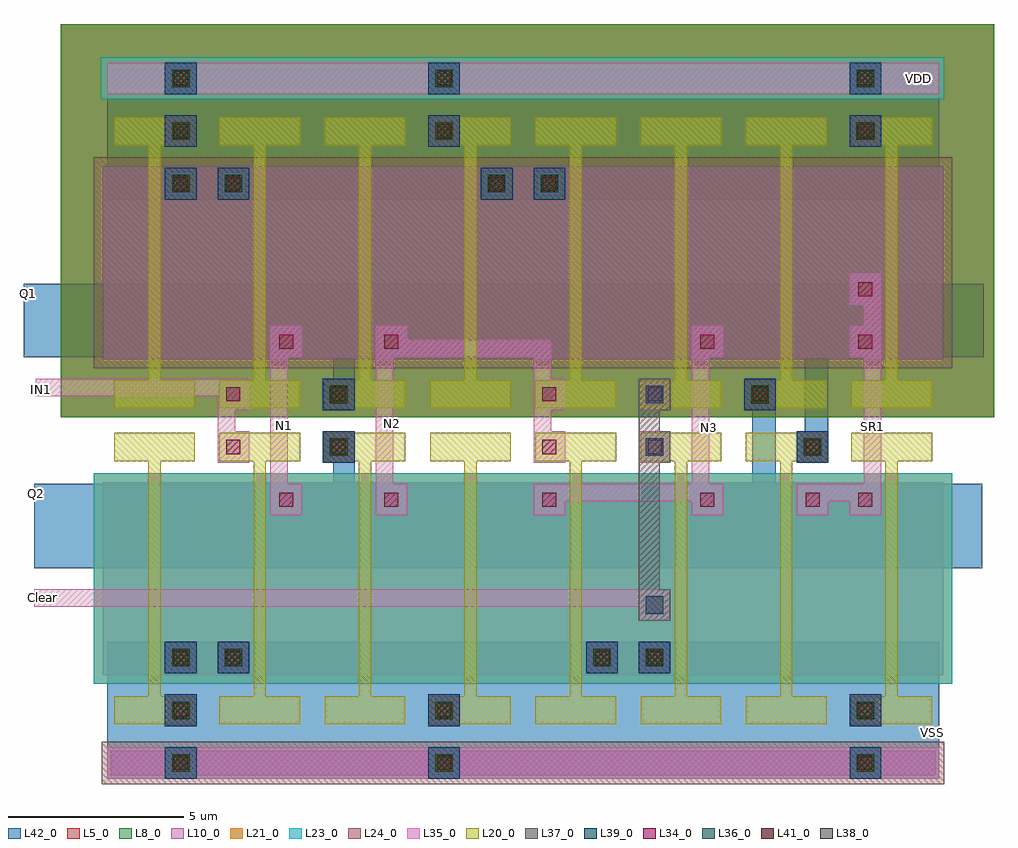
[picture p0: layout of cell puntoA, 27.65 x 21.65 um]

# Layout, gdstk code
import gdstk
lib = gdstk.Library(unit=1e-6, precision=1e-09)
def R(c, l, rs):  # rectangles x0, y0, x1, y1
    for r in rs: c.add(gdstk.rectangle(r[:2], r[2:], *l))
def A(c, l, x, y, w, h, nx, ny, dx, dy):  # array of equal rectangles
    R(c, l, [(x+i*dx, y+j*dy, x+i*dx+w, y+j*dy+h) for i in range(nx) for j in range(ny)])
L5_0 = (5, 0)
L8_0 = (8, 0)
L10_0 = (10, 0)
L20_0 = (20, 0)
L21_0 = (21, 0)
L23_0 = (23, 0)
L24_0 = (24, 0)
L34_0 = (34, 0)
L35_0 = (35, 0)
L36_0 = (36, 0)
L37_0 = (37, 0)
L38_0 = (38, 0)
L39_0 = (39, 0)
L41_0 = (41, 0)
L42_0 = (42, 0)

puntoa = lib.new_cell('puntoA')
R(puntoa, L5_0, [(-6.825,-5.35,19.775,5.85)])
R(puntoa, L8_0, [(-6.825,-5.35,19.775,5.85)])
R(puntoa, L10_0, [(-5.4,-15.55,18.1,-14.85), (-5.625,-12.7,18.325,-7.2), (-5.625,-3.7,18.325,1.8), (-5.425,3.95,18.1,4.65)])
A(puntoa, L20_0, -5.3, -14.1, 2.3, 0.8, 8, 2, 3, 7.5)
A(puntoa, L20_0, -4.325, -13.3, 0.35, 6.7, 8, 2, 3, 9)
A(puntoa, L20_0, -5.3, -5.1, 2.3, 0.8, 8, 2, 3, 7.5)
R(puntoa, L21_0, [(-5.875,-12.95,18.575,-6.95), (-5.675,3.7,18.35,4.9)])
R(puntoa, L23_0, [(-5.875,-12.95,18.575,-6.95), (-5.675,3.7,18.35,4.9)])
R(puntoa, L24_0, [(-5.65,-15.8,18.35,-14.6), (-5.875,-3.95,18.575,2.05)])
A(puntoa, L34_0, 2.4, -7.9, 0.4, 0.4, 3, 1, 4.5, 0)
A(puntoa, L34_0, 6.9, -4.9, 0.4, 0.4, 3, 1, 3, 0)
R(puntoa, L34_0, [(-3.6,-15.4,-3.2,-15), (-3.6,-15.4,-3.2,-15), (3.9,-15.4,4.3,-15), (3.9,-15.4,4.3,-15), (15.9,-15.4,16.3,-15), (15.9,-15.4,16.3,-15), (-3.6,-13.9,-3.2,-13.5), (-3.6,-13.9,-3.2,-13.5), (3.9,-13.9,4.3,-13.5), (3.9,-13.9,4.3,-13.5), (15.9,-13.9,16.3,-13.5), (15.9,-13.9,16.3,-13.5), (-3.6,-12.4,-3.2,-12), (-2.1,-12.4,-1.7,-12), (8.4,-12.4,8.8,-12), (9.9,-12.4,10.3,-12), (-0.6,-7.9,-0.2,-7.5), (14.4,-7.9,14.8,-7.5), (15.9,-7.9,16.3,-7.5), (-2.1,-6.4,-1.7,-6), (-2.1,-6.4,-1.7,-6), (0.9,-6.4,1.3,-6), (6.9,-6.4,7.3,-6), (6.9,-6.4,7.3,-6), (9.9,-6.4,10.3,-6), (14.4,-6.4,14.8,-6), (-2.1,-4.9,-1.7,-4.5), (0.9,-4.9,1.3,-4.5), (12.9,-4.9,13.3,-4.5), (-0.6,-3.4,-0.2,-3), (2.4,-3.4,2.8,-3), (11.4,-3.4,11.8,-3), (15.9,-3.4,16.3,-3), (15.9,-1.9,16.3,-1.5), (-3.6,1.1,-3.2,1.5), (-2.1,1.1,-1.7,1.5), (5.4,1.1,5.8,1.5), (6.9,1.1,7.3,1.5), (-3.6,2.6,-3.2,3), (-3.6,2.6,-3.2,3), (3.9,2.6,4.3,3), (3.9,2.6,4.3,3), (15.9,2.6,16.3,3), (15.9,2.6,16.3,3), (-3.6,4.1,-3.2,4.5), (-3.6,4.1,-3.2,4.5), (3.9,4.1,4.3,4.5), (3.9,4.1,4.3,4.5), (15.9,4.1,16.3,4.5), (15.9,4.1,16.3,4.5)])
A(puntoa, L35_0, -3.85, -15.65, 0.9, 0.9, 1, 3, 0, 1.5)
A(puntoa, L35_0, 2.15, -8.15, 0.9, 0.9, 3, 1, 4.5, 0)
A(puntoa, L35_0, 6.65, -5.15, 0.9, 0.9, 3, 1, 3, 0)
R(puntoa, L35_0, [(-5.5,-15.65,18.2,-14.75), (3.65,-15.65,4.55,-14.75), (15.65,-15.65,16.55,-14.75), (-3.85,-15.55,18.1,-14.85), (3.65,-14.15,4.55,-13.25), (15.65,-14.15,16.55,-13.25), (-2.35,-12.65,-1.45,-11.75), (8.15,-12.65,9.05,-11.75), (9.65,-12.65,10.55,-11.75), (9.65,-11.15,10.55,-10.25), (-7.575,-10.75,9.65,-10.25), (-0.85,-8.15,0.05,-7.25), (14.15,-8.15,15.05,-7.25), (15.65,-8.15,16.55,-7.25), (7.55,-7.75,11.15,-7.25), (15.05,-7.75,15.65,-7.25), (-0.85,-7.25,-0.35,-3.65), (2.15,-7.25,2.65,-3.65), (11.15,-7.25,11.65,-3.65), (16.05,-7.25,16.55,-3.65), (-2.35,-6.65,-1.45,-5.75), (0.65,-6.65,1.55,-5.75), (6.65,-6.65,7.55,-5.75), (9.65,-6.65,10.55,-5.75), (14.15,-6.65,15.05,-5.75), (-2.35,-5.75,-1.85,-5.15), (6.65,-5.75,7.15,-3.65), (-2.35,-5.15,-1.45,-4.25), (0.65,-5.15,1.55,-4.25), (-7.525,-4.75,-2.35,-4.25), (-0.85,-3.65,0.05,-2.75), (2.15,-3.65,3.05,-2.75), (3.05,-3.65,7.15,-3.15), (11.15,-3.65,12.05,-2.75), (15.65,-3.65,16.55,-2.75), (16.05,-2.75,16.55,-2.15), (15.65,-2.15,16.55,-1.25), (-3.85,0.85,-2.95,1.75), (-2.35,0.85,-1.45,1.75), (5.15,0.85,6.05,1.75), (6.65,0.85,7.55,1.75), (-3.85,2.35,-2.95,3.25), (3.65,2.35,4.55,3.25), (15.65,2.35,16.55,3.25), (-5.5,3.85,18.2,4.75)])
A(puntoa, L36_0, -3.65, -15.45, 0.5, 0.5, 1, 3, 0, 1.5)
A(puntoa, L36_0, -3.65, 1.05, 0.5, 0.5, 1, 3, 0, 1.5)
R(puntoa, L36_0, [(3.85,-15.45,4.35,-14.95), (15.85,-15.45,16.35,-14.95), (3.85,-13.95,4.35,-13.45), (15.85,-13.95,16.35,-13.45), (-2.15,-12.45,-1.65,-11.95), (8.35,-12.45,8.85,-11.95), (9.85,-12.45,10.35,-11.95), (9.85,-10.95,10.35,-10.45), (0.85,-6.45,1.35,-5.95), (9.85,-6.45,10.35,-5.95), (14.35,-6.45,14.85,-5.95), (0.85,-4.95,1.35,-4.45), (9.85,-4.95,10.35,-4.45), (12.85,-4.95,13.35,-4.45), (-2.15,1.05,-1.65,1.55), (5.35,1.05,5.85,1.55), (6.85,1.05,7.35,1.55), (3.85,2.55,4.35,3.05), (15.85,2.55,16.35,3.05), (3.85,4.05,4.35,4.55), (15.85,4.05,16.35,4.55)])
A(puntoa, L37_0, -3.85, -15.65, 0.9, 0.9, 1, 3, 0, 1.5)
A(puntoa, L37_0, -3.85, 0.85, 0.9, 0.9, 1, 3, 0, 1.5)
R(puntoa, L37_0, [(3.65,-15.65,4.55,-14.75), (15.65,-15.65,16.55,-14.75), (3.65,-14.15,4.55,-13.25), (15.65,-14.15,16.55,-13.25), (-2.35,-12.65,-1.45,-11.75), (8.15,-12.65,9.05,-11.75), (9.65,-12.65,10.55,-11.75), (9.65,-11.15,10.25,-5.15), (10.25,-11.15,10.55,-10.25), (0.65,-6.65,1.55,-5.75), (9.65,-6.65,10.55,-5.75), (14.15,-6.65,15.05,-5.75), (14.15,-6.65,15.05,-5.75), (0.65,-5.15,1.55,-4.25), (9.65,-5.15,10.55,-4.25), (12.65,-5.15,13.55,-4.25), (12.65,-5.15,13.55,-4.25), (-2.35,0.85,-1.45,1.75), (5.15,0.85,6.05,1.75), (6.65,0.85,7.55,1.75), (3.65,2.35,4.55,3.25), (15.65,2.35,16.55,3.25), (3.65,3.85,4.55,4.75), (15.65,3.85,16.55,4.75)])
A(puntoa, L38_0, -3.65, -15.45, 0.5, 0.5, 1, 3, 0, 1.5)
A(puntoa, L38_0, -3.65, 1.05, 0.5, 0.5, 1, 3, 0, 1.5)
R(puntoa, L38_0, [(3.85,-15.45,4.35,-14.95), (15.85,-15.45,16.35,-14.95), (3.85,-13.95,4.35,-13.45), (15.85,-13.95,16.35,-13.45), (-2.15,-12.45,-1.65,-11.95), (8.35,-12.45,8.85,-11.95), (9.85,-12.45,10.35,-11.95), (0.85,-6.45,1.35,-5.95), (14.35,-6.45,14.85,-5.95), (0.85,-4.95,1.35,-4.45), (12.85,-4.95,13.35,-4.45), (-2.15,1.05,-1.65,1.55), (5.35,1.05,5.85,1.55), (6.85,1.05,7.35,1.55), (3.85,2.55,4.35,3.05), (15.85,2.55,16.35,3.05), (3.85,4.05,4.35,4.55), (15.85,4.05,16.35,4.55)])
A(puntoa, L39_0, -3.85, -15.65, 0.9, 0.9, 1, 3, 0, 1.5)
A(puntoa, L39_0, -3.85, 0.85, 0.9, 0.9, 1, 3, 0, 1.5)
R(puntoa, L39_0, [(3.65,-15.65,4.55,-14.75), (15.65,-15.65,16.55,-14.75), (3.65,-14.15,4.55,-13.25), (15.65,-14.15,16.55,-13.25), (-2.35,-12.65,-1.45,-11.75), (8.15,-12.65,9.05,-11.75), (9.65,-12.65,10.55,-11.75), (0.65,-6.65,1.55,-5.75), (14.15,-6.65,15.05,-5.75), (14.15,-6.65,15.05,-5.75), (0.65,-5.15,1.55,-4.25), (12.65,-5.15,13.55,-4.25), (12.65,-5.15,13.55,-4.25), (-2.35,0.85,-1.45,1.75), (5.15,0.85,6.05,1.75), (6.65,0.85,7.55,1.75), (3.65,2.35,4.55,3.25), (15.65,2.35,16.55,3.25), (3.65,3.85,4.55,4.75), (15.65,3.85,16.55,4.75)])
A(puntoa, L41_0, -3.65, -15.45, 0.5, 0.5, 1, 3, 0, 1.5)
A(puntoa, L41_0, -3.65, 1.05, 0.5, 0.5, 1, 3, 0, 1.5)
R(puntoa, L41_0, [(3.85,-15.45,4.35,-14.95), (15.85,-15.45,16.35,-14.95), (3.85,-13.95,4.35,-13.45), (15.85,-13.95,16.35,-13.45), (-2.15,-12.45,-1.65,-11.95), (8.35,-12.45,8.85,-11.95), (9.85,-12.45,10.35,-11.95), (0.85,-6.45,1.35,-5.95), (14.35,-6.45,14.85,-5.95), (0.85,-4.95,1.35,-4.45), (12.85,-4.95,13.35,-4.45), (-2.15,1.05,-1.65,1.55), (5.35,1.05,5.85,1.55), (6.85,1.05,7.35,1.55), (3.85,2.55,4.35,3.05), (15.85,2.55,16.35,3.05), (3.85,4.05,4.35,4.55), (15.85,4.05,16.35,4.55)])
A(puntoa, L42_0, -3.85, -15.65, 0.9, 0.9, 1, 3, 0, 1.5)
A(puntoa, L42_0, -3.85, 0.85, 0.9, 0.9, 1, 3, 0, 1.5)
R(puntoa, L42_0, [(-5.5,-15.65,18.2,-11.75), (3.65,-15.65,4.55,-14.75), (15.65,-15.65,16.55,-14.75), (3.65,-14.15,4.55,-13.25), (15.65,-14.15,16.55,-13.25), (-2.35,-12.65,-1.45,-11.75), (8.15,-12.65,9.05,-11.75), (9.65,-12.65,10.55,-11.75), (-7.575,-9.65,19.425,-7.25), (0.95,-9.65,1.55,-6.65), (12.875,-7.25,13.55,-5.15), (0.65,-6.65,1.55,-5.75), (14.15,-6.65,15.05,-5.75), (14.375,-5.75,15.05,-3.65), (0.65,-5.15,1.55,-4.25), (12.65,-5.15,13.55,-4.25), (0.95,-4.25,1.55,-1.55), (-7.875,-3.65,19.475,-1.55), (-5.5,0.85,18.2,4.75), (-2.35,0.85,-1.45,1.75), (5.15,0.85,6.05,1.75), (6.65,0.85,7.55,1.75), (3.65,2.35,4.55,3.25), (15.65,2.35,16.55,3.25), (3.65,3.85,4.55,4.75), (15.65,3.85,16.55,4.75)])
puntoa.add(gdstk.Label('VDD', (17.625,4.3), layer=61, texttype=5))
puntoa.add(gdstk.Label('Clear', (-7.325,-10.5), layer=61, texttype=2))
puntoa.add(gdstk.Label('IN1', (-7.375,-4.55), layer=61, texttype=2))
puntoa.add(gdstk.Label('N1', (-0.45,-5.575), layer=61, texttype=2))
puntoa.add(gdstk.Label('Q1', (-7.75,-1.825), layer=61, texttype=5))
puntoa.add(gdstk.Label('Q2', (-7.5,-7.525), layer=61, texttype=5))
puntoa.add(gdstk.Label('N2', (2.625,-5.525), layer=61, texttype=2))
puntoa.add(gdstk.Label('N3', (11.65,-5.65), layer=61, texttype=2))
puntoa.add(gdstk.Label('SR1', (16.3,-5.625), layer=61, texttype=2))
puntoa.add(gdstk.Label('VSS', (18,-14.325), layer=61, texttype=5))

lib.write_gds('puntoA.gds')
